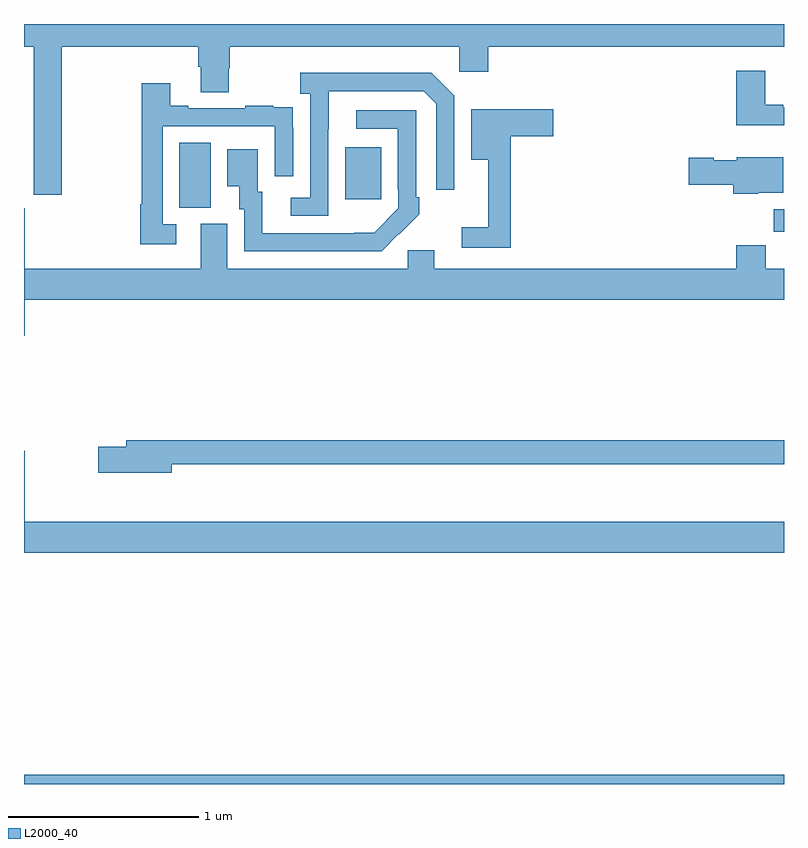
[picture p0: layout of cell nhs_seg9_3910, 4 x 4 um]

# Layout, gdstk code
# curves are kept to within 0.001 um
import gdstk
lib = gdstk.Library(unit=1e-6, precision=1e-09)
def R(c, l, rs):  # rectangles x0, y0, x1, y1
    for r in rs: c.add(gdstk.rectangle(r[:2], r[2:], *l))
def P(c, l, *ps):  # polygons
    for p in ps: c.add(gdstk.Polygon(p, *l))
L2000_40 = (2000, 40)

nhs_seg9_3910 = lib.new_cell('nhs_seg9_3910')
R(nhs_seg9_3910, L2000_40, [(333,1232.5,337,1232.548), (336.946,1235.406,337,1235.524), (333.818,1235.533,333.982,1235.876), (334.691,1235.577,334.879,1235.851)])
P(nhs_seg9_3910, L2000_40, [(333.198,1236.38),(333.917,1236.38),(333.917,1236.274),(333.929,1236.274),(333.929,1236.142),(334.077,1236.142),(334.077,1236.267),(334.082,1236.267),(334.082,1236.38),(335.292,1236.38),(335.292,1236.249),(335.444,1236.249),(335.444,1236.38),(337,1236.38),(337,1236.5),(333,1236.5),(333,1236.38),(333.05,1236.38),(333.05,1235.601),(333.198,1235.601)],
  [(337,1236.063),(336.997,1236.063),(336.997,1236.076),(336.901,1236.076),(336.901,1236.253),(336.749,1236.253),(336.749,1235.966),(337,1235.966)],
  [(334.602,1235.947),(334.603,1236.147),(335.103,1236.147),(335.169,1236.081),(335.169,1235.628),(335.265,1235.628),(335.265,1236.123),(335.144,1236.244),(334.455,1236.244),(334.455,1236.134),(334.506,1236.134),(334.506,1235.586),(334.404,1235.586),(334.404,1235.49),(334.602,1235.49)],
  [(333.802,1235.445),(333.729,1235.445),(333.729,1235.961),(334.32,1235.961),(334.32,1235.7),(334.416,1235.7),(334.416,1235.954),(334.415,1235.954),(334.415,1236.063),(334.313,1236.063),(334.313,1236.07),(334.165,1236.07),(334.165,1236.057),(333.865,1236.057),(333.865,1236.07),(333.769,1236.07),(333.769,1236.187),(333.621,1236.187),(333.621,1235.552),(333.613,1235.552),(333.613,1235.34),(333.802,1235.34)],
  [(335.561,1235.909),(335.785,1235.909),(335.785,1236.051),(335.354,1236.051),(335.354,1235.786),(335.444,1235.786),(335.444,1235.431),(335.304,1235.431),(335.304,1235.322),(335.561,1235.322)],
  [(334.973,1235.395),(334.974,1235.394),(335.079,1235.499),(335.079,1235.587),(335.064,1235.587),(335.064,1236.045),(334.749,1236.045),(334.749,1235.949),(334.968,1235.949),(334.968,1235.629),(334.971,1235.629),(334.971,1235.529),(334.843,1235.401),(334.255,1235.4),(334.255,1235.616),(334.231,1235.616),(334.231,1235.842),(334.07,1235.842),(334.07,1235.645),(334.133,1235.645),(334.133,1235.526),(334.158,1235.526),(334.158,1235.304),(334.882,1235.304)],
  [(336.864,1235.612),(336.997,1235.612),(336.997,1235.8),(336.75,1235.8),(336.75,1235.782),(336.63,1235.782),(336.63,1235.795),(336.498,1235.795),(336.498,1235.653),(336.734,1235.653),(336.734,1235.606),(336.864,1235.606)],
  [(333.004,1235.048),(337,1235.048),(337,1235.212),(336.905,1235.212),(336.905,1235.336),(336.749,1235.336),(336.749,1235.212),(335.158,1235.212),(335.158,1235.31),(335.019,1235.31),(335.019,1235.212),(334.069,1235.212),(334.069,1235.448),(333.929,1235.448),(333.929,1235.212),(333.004,1235.212),(333.004,1235.529),(333,1235.529),(333,1234.86),(333.004,1234.86)],
  [(333.778,1234.182),(337,1234.182),(337,1234.31),(333.539,1234.31),(333.539,1234.274),(333.39,1234.274),(333.39,1234.139),(333.778,1234.139)],
  [(337,1233.88),(333.004,1233.88),(333.004,1234.255),(333,1234.255),(333,1233.716),(337,1233.716)])

lib.write_gds('nhs_seg9_3910.gds')
